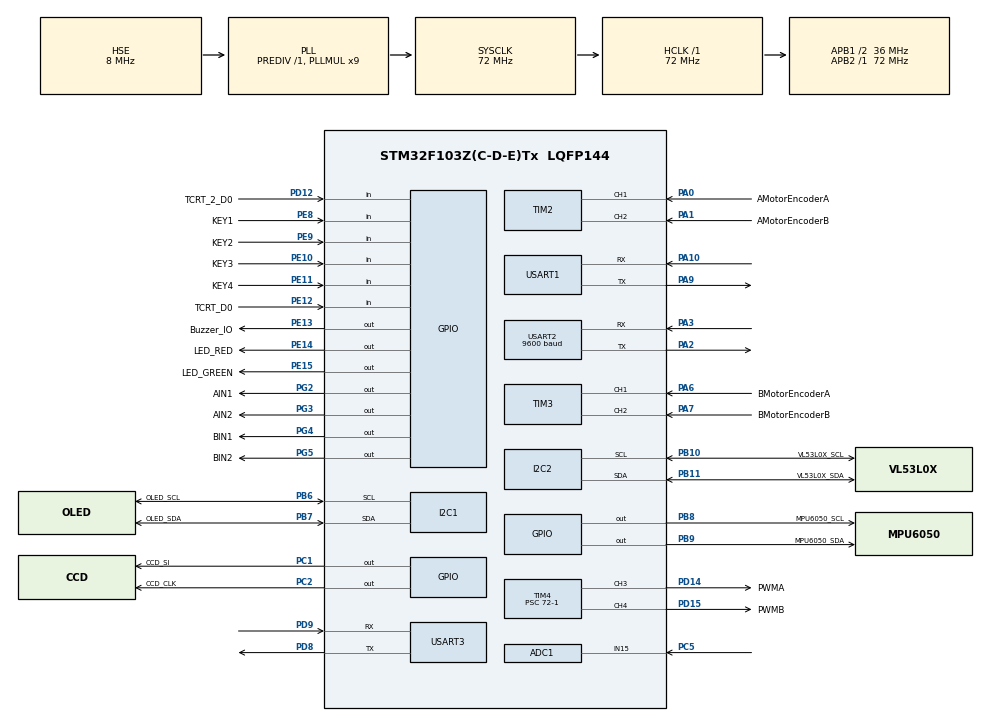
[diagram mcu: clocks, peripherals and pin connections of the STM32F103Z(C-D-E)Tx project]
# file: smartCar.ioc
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ADC1.Channel-5\#ChannelRegularConversion=ADC_CHANNEL_15
ADC1.Channel-6\#ChannelRegularConversion=ADC_CHANNEL_15
ADC1.ContinuousConvMode=ENABLE
ADC1.DiscontinuousConvMode=DISABLE
ADC1.NbrOfConversion=2
ADC1.NbrOfConversionFlag=1
ADC1.Rank-5\#ChannelRegularConversion=1
ADC1.Rank-6\#ChannelRegularConversion=2
ADC1.SamplingTime-5\#ChannelRegularConversion=ADC_SAMPLETIME_239CYCLES_5
ADC1.SamplingTime-6\#ChannelRegularConversion=ADC_SAMPLETIME_1CYCLE_5
ADC1.master=1
Dma.ADC1.0.Direction=DMA_PERIPH_TO_MEMORY
Dma.ADC1.0.Instance=DMA1_Channel1
Dma.ADC1.0.MemDataAlignment=DMA_MDATAALIGN_WORD
Dma.ADC1.0.MemInc=DMA_MINC_ENABLE
Dma.ADC1.0.Mode=DMA_CIRCULAR
Dma.ADC1.0.PeriphDataAlignment=DMA_PDATAALIGN_WORD
Dma.ADC1.0.PeriphInc=DMA_PINC_DISABLE
Dma.ADC1.0.Priority=DMA_PRIORITY_MEDIUM
Dma.Request0=ADC1
I2C2.I2C_Mode=I2C_Fast
Mcu.Family=STM32F1
Mcu.Name=STM32F103Z(C-D-E)Tx
Mcu.Package=LQFP144
NVIC.DMA1_Channel1_IRQn=true\:0\:0\:false\:false\:true\:false\:true\:true
NVIC.PriorityGroup=NVIC_PRIORITYGROUP_4
NVIC.TIM1_UP_IRQn=true\:1\:0\:true\:false\:true\:true\:true\:true
NVIC.USART2_IRQn=true\:2\:0\:true\:false\:true\:true\:true\:true
NVIC.USART3_IRQn=true\:3\:0\:true\:false\:true\:true\:true\:true
OSC_IN.Mode=HSE-External-Oscillator
OSC_IN.Signal=RCC_OSC_IN
OSC_OUT.Mode=HSE-External-Oscillator
OSC_OUT.Signal=RCC_OSC_OUT
PA0-WKUP.GPIO_Label=AMotorEncoderA
PA0-WKUP.Signal=S_TIM2_CH1_ETR
PA1.GPIO_Label=AMotorEncoderB
PA1.Signal=S_TIM2_CH2
PA10.Mode=Asynchronous
PA10.Signal=USART1_RX
PA13.Mode=Serial_Wire
PA13.Signal=SYS_JTMS-SWDIO
PA14.Mode=Serial_Wire
PA14.Signal=SYS_JTCK-SWCLK
PA2.Mode=Asynchronous
PA2.Signal=USART2_TX
PA3.Mode=Asynchronous
PA3.Signal=USART2_RX
PA6.GPIO_Label=BMotorEncoderA
PA6.GPIO_PuPd=GPIO_PULLUP
PA6.Signal=S_TIM3_CH1
PA7.GPIO_Label=BMotorEncoderB
PA7.GPIO_PuPd=GPIO_PULLUP
PA7.Signal=S_TIM3_CH2
PA9.Mode=Asynchronous
PA9.Signal=USART1_TX
PB10.GPIO_Label=VL53L0X_SCL
PB10.GPIO_Speed=GPIO_SPEED_FREQ_HIGH
PB10.Mode=I2C
PB10.Signal=I2C2_SCL
PB11.GPIO_Label=VL53L0X_SDA
PB11.GPIO_Speed=GPIO_SPEED_FREQ_HIGH
PB11.Mode=I2C
PB11.Signal=I2C2_SDA
PB6.GPIO_Label=OLED_SCL
PB6.Mode=I2C
PB6.Signal=I2C1_SCL
PB7.GPIO_Label=OLED_SDA
PB7.Mode=I2C
PB7.Signal=I2C1_SDA
PB8.GPIO_Label=MPU6050_SCL
PB8.GPIO_ModeDefaultOutputPP=GPIO_MODE_OUTPUT_OD
PB8.GPIO_PuPd=GPIO_PULLUP
PB8.GPIO_Speed=GPIO_SPEED_FREQ_HIGH
PB8.PinState=GPIO_PIN_RESET
PB8.Signal=GPIO_Output
PB9.GPIO_Label=MPU6050_SDA
PB9.GPIO_ModeDefaultOutputPP=GPIO_MODE_OUTPUT_OD
PB9.GPIO_PuPd=GPIO_PULLUP
PB9.GPIO_Speed=GPIO_SPEED_FREQ_HIGH
PB9.Signal=GPIO_Output
PC0.GPIO_Label=CCD_AO
PC0.Signal=ADCx_IN10
PC1.GPIO_Label=CCD_SI
PC1.GPIO_ModeDefaultOutputPP=GPIO_MODE_OUTPUT_PP
PC1.GPIO_PuPd=GPIO_PULLUP
PC1.GPIO_Speed=GPIO_SPEED_FREQ_MEDIUM
PC1.PinState=GPIO_PIN_SET
PC1.Signal=GPIO_Output
PC14-OSC32_IN.Mode=LSE-External-Oscillator
PC14-OSC32_IN.Signal=RCC_OSC32_IN
PC15-OSC32_OUT.Mode=LSE-External-Oscillator
PC15-OSC32_OUT.Signal=RCC_OSC32_OUT
PC2.GPIO_Label=CCD_CLK
PC2.GPIO_PuPd=GPIO_PULLUP
PC2.GPIO_Speed=GPIO_SPEED_FREQ_MEDIUM
PC2.PinState=GPIO_PIN_SET
PC2.Signal=GPIO_Output
PC5.Signal=ADCx_IN15
PD12.GPIO_Label=TCRT_2_D0
PD12.Signal=GPIO_Input
PD14.GPIO_Label=PWMA
PD14.Signal=S_TIM4_CH3
PD15.GPIO_Label=PWMB
PD15.Signal=S_TIM4_CH4
PD8.Mode=Asynchronous
PD8.Signal=USART3_TX
PD9.Mode=Asynchronous
PD9.Signal=USART3_RX
PE10.GPIO_Label=KEY3
PE10.GPIO_PuPd=GPIO_PULLUP
PE10.Signal=GPIO_Input
PE11.GPIO_Label=KEY4
PE11.GPIO_PuPd=GPIO_PULLUP
PE11.Signal=GPIO_Input
PE12.GPIO_Label=TCRT_D0
PE12.Signal=GPIO_Input
PE13.GPIO_Label=Buzzer_IO
PE13.Signal=GPIO_Output
PE14.GPIO_Label=LED_RED
PE14.Signal=GPIO_Output
PE15.GPIO_Label=LED_GREEN
PE15.Signal=GPIO_Output
PE8.GPIO_Label=KEY1
PE8.GPIO_PuPd=GPIO_PULLUP
PE8.Signal=GPIO_Input
PE9.GPIO_Label=KEY2
PE9.GPIO_PuPd=GPIO_PULLUP
PE9.Signal=GPIO_Input
PG2.GPIO_Label=AIN1
PG2.Signal=GPIO_Output
PG3.GPIO_Label=AIN2
PG3.Signal=GPIO_Output
PG4.GPIO_Label=BIN1
PG4.Signal=GPIO_Output
PG5.GPIO_Label=BIN2
PG5.Signal=GPIO_Output
ProjectManager.HeapSize=0x200
ProjectManager.StackSize=0x400
ProjectManager.TargetToolchain=MDK-ARM V5
RCC.ADCPresc=RCC_ADCPCLK2_DIV6
RCC.AHBFreq_Value=72000000
RCC.APB1CLKDivider=RCC_HCLK_DIV2
RCC.APB1Freq_Value=36000000
RCC.APB1TimFreq_Value=72000000
RCC.APB2Freq_Value=72000000
RCC.APB2TimFreq_Value=72000000
RCC.HCLKFreq_Value=72000000
RCC.PLLMUL=RCC_PLL_MUL9
RCC.PLLSourceVirtual=RCC_PLLSOURCE_HSE
RCC.SYSCLKFreq_VALUE=72000000
RCC.SYSCLKSource=RCC_SYSCLKSOURCE_PLLCLK
RCC.USBFreq_Value=72000000
SH.ADCx_IN10.0=ADC1_IN10
SH.ADCx_IN15.0=ADC1_IN15,IN15
SH.S_TIM2_CH1_ETR.0=TIM2_CH1,Encoder_Interface
SH.S_TIM2_CH2.0=TIM2_CH2,Encoder_Interface
SH.S_TIM3_CH1.0=TIM3_CH1,Encoder_Interface
SH.S_TIM3_CH2.0=TIM3_CH2,Encoder_Interface
SH.S_TIM4_CH3.0=TIM4_CH3,PWM Generation3 CH3
SH.S_TIM4_CH4.0=TIM4_CH4,PWM Generation4 CH4
TIM1.AutoReloadPreload=TIM_AUTORELOAD_PRELOAD_ENABLE
TIM1.Period=10000-1
TIM1.Prescaler=72-1
TIM2.AutoReloadPreload=TIM_AUTORELOAD_PRELOAD_ENABLE
TIM2.EncoderMode=TIM_ENCODERMODE_TI12
TIM3.AutoReloadPreload=TIM_AUTORELOAD_PRELOAD_ENABLE
TIM3.EncoderMode=TIM_ENCODERMODE_TI12
TIM3.IC1Filter=6
TIM3.IC2Filter=6
TIM4.AutoReloadPreload=TIM_AUTORELOAD_PRELOAD_DISABLE
TIM4.Channel-PWM\ Generation3\ CH3=TIM_CHANNEL_3
TIM4.Channel-PWM\ Generation4\ CH4=TIM_CHANNEL_4
TIM4.Period=100-1
TIM4.Prescaler=72-1
USART1.VirtualMode=VM_ASYNC
USART2.BaudRate=9600
USART2.VirtualMode=VM_ASYNC
USART3.VirtualMode=VM_ASYNC
VP_ADC1_TempSens_Input.Mode=IN-TempSens
VP_TIM1_VS_ClockSourceINT.Mode=Internal
VP_TIM4_VS_ClockSourceINT.Mode=Internal
board=custom

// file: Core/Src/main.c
/* USER CODE BEGIN Header */
/**
 ******************************************************************************
 * @file           : main.c
 * @brief          : Main program body
 ******************************************************************************
 * @attention
 *
 * Copyright (c) 2023 STMicroelectronics.
 * All rights reserved.
 *
 * This software is licensed under terms that can be found in the LICENSE file
 * in the root directory of this software component.
 * If no LICENSE file comes with this software, it is provided AS-IS.
 *
 ******************************************************************************
 */
/* USER CODE END Header */
#include "main.h"
#include "adc.h"
#include "dma.h"
#include "i2c.h"
#include "tim.h"
#include "usart.h"
#include "gpio.h"

/* USER CODE BEGIN PV */
PID                 leftMotor_PID;
PID                 rightMotor_PID;
PID                 trailMotor_PID;

uint8_t             TempStr[30];                                                  // OLED显示缓存

int                 tim1Count           = 0;                                      // 中断计时

float               batteryVoltage      = 0.0;                                    // 电池电压

short               encoderPulse[2]     = {0};                                    // 编码器脉冲数
float               leftSpeed           = 0;                                      // 左轮速度
float               rightSpeed          = 0;                                      // 右轮速度

float               leftTargetSpeed     = 0;                                      // 左轮目标速度
float               rightTargetSpeed    = 0;                                      // 右轮目标速度

uint8_t             Uart2RxBuff[2];                                               // 进入中断接收数据的数组
uint8_t             Uart2DataBuff[100];                                           // 保存接收到的数据的数组
uint8_t             RxLine              = 0;                                      // 接收到的数据长度
uint8_t             Uart2RxFlag         = 0;                                      // 串口2接收标志位

uint8_t             MovementPara        = 0;                                      // 运动参数

uint8_t             Uart3RxBuff;                                                  // 进入中断接收数据的数组
int                 Uart3RxFlag         = 0;                                      // 串口3接收标志位

uint16_t            distance            = 0;                                      // unit: mm
statInfo_t_VL53L0X  distanceStr;

volatile uint32_t   adcBuffer[ADC_CHANNEL_COUNT * ADC_AVERAGE_COUNT];             // 保存ADC转换后的数值
float               ADC_Value[ADC_CHANNEL_COUNT];                                 // 保存计算后的数值
float               temperature = 0.0;                                            // 内部温度传感器
/* USER CODE END PV */

void SystemClock_Config(void);

int main(void)
{

  /* MCU Configuration--------------------------------------------------------*/

  /* Reset of all peripherals, Initializes the Flash interface and the Systick. */
  HAL_Init();

  /* Configure the system clock */
  SystemClock_Config();

  /* Initialize all configured peripherals */
  MX_GPIO_Init();
  MX_DMA_Init();
  MX_TIM1_Init();
  MX_TIM3_Init();
  MX_TIM4_Init();
  MX_USART1_UART_Init();
  MX_USART2_UART_Init();
  MX_ADC1_Init();
  MX_I2C1_Init();
  MX_TIM2_Init();
  MX_USART3_UART_Init();
  MX_I2C2_Init();
  /* USER CODE BEGIN 2 */
  SSD1306_Init(&hi2c1); // 初始化OLED
  oled.ssd1306.Clear();

  HAL_NVIC_SetPriority(SysTick_IRQn, 0, 0); // 设置SysTick中断优先级，防止卡死

  // Initialise the VL53L0X
  //initVL53L0X(1, &hi2c2);

  // Configure the sensor for high accuracy and speed in 20 cm.
  //setSignalRateLimit(200);
  //setVcselPulsePeriod(VcselPeriodPreRange, 10);
  //setVcselPulsePeriod(VcselPeriodFinalRange, 14);
  //setMeasurementTimingBudget(300 * 1000UL);

  MPU6050_Init();     // MPU6050初始化
  mpu_dmp_init(); // dmp初始化

  HAL_TIM_Base_Start_IT(&htim1);                 // 启动定时器1中断
  HAL_TIM_PWM_Start(&htim4, TIM_CHANNEL_3);
  HAL_TIM_PWM_Start(&htim4, TIM_CHANNEL_4);
  HAL_TIM_Encoder_Start(&htim2, TIM_CHANNEL_1);
  HAL_TIM_Encoder_Start(&htim2, TIM_CHANNEL_2);
  HAL_TIM_Encoder_Start(&htim3, TIM_CHANNEL_1);
  HAL_TIM_Encoder_Start(&htim3, TIM_CHANNEL_2); // start encoder timer

  __HAL_TIM_ENABLE_IT(&htim2, TIM_IT_UPDATE);
  __HAL_TIM_ENABLE_IT(&htim3, TIM_IT_UPDATE); // start encoder timer to update interrupts and prevent overflow processing

  __HAL_TIM_SET_COUNTER(&htim2, 0);
  __HAL_TIM_SET_COUNTER(&htim3, 0); // initialize encoder timing and set it to 3000

  // HAL_ADCEx_Calibration_Start(&CCD_AO_hadc);

  Speed_PID_Init(&leftMotor_PID);
  Speed_PID_Init(&rightMotor_PID);
  Trail_PID_Init(&trailMotor_PID);

  //HAL_UART_Receive_IT(&huart2, &Uart2RxBuff, 1); // 串口2接收中断
  HAL_UART_Receive_IT(&huart2, Uart2RxBuff, 2); // 串口2接收中断
  memset(Uart2DataBuff, 0, 100*sizeof(uint8_t));

  //HAL_ADC_Start_DMA(&hadc1, (uint32_t *)adcBuffer, ADC_CHANNEL_COUNT * ADC_AVERAGE_COUNT);

  /* USER CODE END 2 */

  /* Infinite loop */
  /* USER CODE BEGIN WHILE */
  while (1)
  {
    OLEDShow(); // OLED显示
    MovementPara_Decode(); // 运动参数解码
    /* USER CODE END WHILE */

  }
}

void SystemClock_Config(void)
{
  RCC_OscInitTypeDef RCC_OscInitStruct = {0};
  RCC_ClkInitTypeDef RCC_ClkInitStruct = {0};
  RCC_PeriphCLKInitTypeDef PeriphClkInit = {0};

  /** Initializes the RCC Oscillators according to the specified parameters
  * in the RCC_OscInitTypeDef structure.
  */
  RCC_OscInitStruct.OscillatorType = RCC_OSCILLATORTYPE_HSE;
  RCC_OscInitStruct.HSEState = RCC_HSE_ON;
  RCC_OscInitStruct.HSEPredivValue = RCC_HSE_PREDIV_DIV1;
  RCC_OscInitStruct.HSIState = RCC_HSI_ON;
  RCC_OscInitStruct.PLL.PLLState = RCC_PLL_ON;
  RCC_OscInitStruct.PLL.PLLSource = RCC_PLLSOURCE_HSE;
  RCC_OscInitStruct.PLL.PLLMUL = RCC_PLL_MUL9;
  if (HAL_RCC_OscConfig(&RCC_OscInitStruct) != HAL_OK)
  {
    Error_Handler();
  }

  /** Initializes the CPU, AHB and APB buses clocks
  */
  RCC_ClkInitStruct.ClockType = RCC_CLOCKTYPE_HCLK|RCC_CLOCKTYPE_SYSCLK
                              |RCC_CLOCKTYPE_PCLK1|RCC_CLOCKTYPE_PCLK2;
  RCC_ClkInitStruct.SYSCLKSource = RCC_SYSCLKSOURCE_PLLCLK;
  RCC_ClkInitStruct.AHBCLKDivider = RCC_SYSCLK_DIV1;
  RCC_ClkInitStruct.APB1CLKDivider = RCC_HCLK_DIV2;
  RCC_ClkInitStruct.APB2CLKDivider = RCC_HCLK_DIV1;

  if (HAL_RCC_ClockConfig(&RCC_ClkInitStruct, FLASH_LATENCY_2) != HAL_OK)
  {
    Error_Handler();
  }
  PeriphClkInit.PeriphClockSelection = RCC_PERIPHCLK_ADC;
  PeriphClkInit.AdcClockSelection = RCC_ADCPCLK2_DIV6;
  if (HAL_RCCEx_PeriphCLKConfig(&PeriphClkInit) != HAL_OK)
  {
    Error_Handler();
  }
}

/* USER CODE BEGIN 4 */
void HAL_TIM_PeriodElapsedCallback(TIM_HandleTypeDef *htim)
{
  tim1Count++;
  if (htim == &htim1) // htim1 100Hz 10ms
  {
    GetSpeed(); // 读取编码器速度，存储在leftSpeed和rightSpeed中

    Speed_PID(leftTargetSpeed, leftSpeed, &leftMotor_PID); // 根据目标速度和实际速度计算PID参数
    Speed_PID(rightTargetSpeed, rightSpeed, &rightMotor_PID);

    //MotorControl(25, 25);

    MotorControl(leftMotor_PID.PWM, rightMotor_PID.PWM); // 电机控制

    MPU6050_GetData();  //读取MPU6050数据

    if (tim1Count > 100)
    {
      batteryVoltage = adcGetBatteryVoltage();  //获取电压值
      tim1Count = 0;
    }
  }
}

void MovementPara_Decode()
{
  if(Uart2RxBuff[0] != 0 && Uart2RxBuff[1] != 0)
  {
    if(MovementPara == '0')  //停下
    {
      leftTargetSpeed = 0;
      rightTargetSpeed = 0;
      printf("stop");
    }
    else if(MovementPara == '1') //前进
    {
      leftTargetSpeed = LeftForwardSpeed;
      rightTargetSpeed = RightForwardSpeed;
      printf("forward");
    }
    else if(MovementPara == '2') //左转
    {
      leftTargetSpeed = LeftBackSpeed;
      rightTargetSpeed = RightForwardSpeed;
      printf("left");
    }
    else if(MovementPara == '3') //后退
    {
      leftTargetSpeed = LeftBackSpeed;
      rightTargetSpeed = RightBackSpeed;
      printf("back");
    }
    else if(MovementPara == '4') //右转
    {
      leftTargetSpeed = LeftForwardSpeed;
      rightTargetSpeed = RightBackSpeed;
      printf("right");
    }

    printf("%s\r\n", Uart2RxBuff);
    memset(Uart2RxBuff, 0, 2*sizeof(uint8_t)); // 清空接收缓存
    HAL_UART_Receive_IT(&huart2, Uart2RxBuff, 2); // 串口2接收中断
  }
  else
  {
    memset(Uart2RxBuff, 0, 2*sizeof(uint8_t)); // 清空接收缓存
    HAL_UART_Receive_IT(&huart2, Uart2RxBuff, 2); // 串口2接收中断
  }
}

void OLEDShow()
{

  sprintf((char *)TempStr, "voltage:%.1fV", batteryVoltage);
  oled.ssd1306.ShowString(0, 0, TempStr, 12);

  sprintf((char *)TempStr, "A%.2f B%.2f", leftSpeed, rightSpeed);
  oled.ssd1306.TempStrCheck(TempStr, 13);
  oled.ssd1306.ShowString(0, 1, TempStr, 12);

  memset(TempStr, 0, sizeof(TempStr));

  /*
  sprintf((char *)TempStr, "              ");
  oled.ssd1306.ShowString(0, 2, TempStr, 12);

  sprintf((char *)TempStr, "P:%.2f gx:%d", (mpu.mpu6050.pitch), (mpu.mpu6050.gyrox));
  oled.ssd1306.ShowString(0, 2, TempStr, 12);

  sprintf((char *)TempStr, "              ");
  oled.ssd1306.ShowString(0, 3, TempStr, 12);

  sprintf((char *)TempStr, "R:%.2f gy:%d", (mpu.mpu6050.roll), (mpu.mpu6050.gyroy));
  oled.ssd1306.ShowString(0, 3, TempStr, 12);

  sprintf((char *)TempStr, "              ");
  oled.ssd1306.ShowString(0, 4, TempStr, 12);

  sprintf((char *)TempStr, "Y:%.2f gz:%d", (mpu.mpu6050.yaw), (mpu.mpu6050.gyroz));
  oled.ssd1306.ShowString(0, 4, TempStr, 12);
  */

  sprintf((char *)TempStr, "P%.2f", (mpu.mpu6050.pitch));
  oled.ssd1306.TempStrCheck(TempStr, 8);
  oled.ssd1306.ShowString(0, 2, TempStr, 12);
  memset(TempStr, 0, sizeof(TempStr));

  sprintf((char *)TempStr, "R%.2f", (mpu.mpu6050.roll));
  oled.ssd1306.TempStrCheck(TempStr, 8);
  oled.ssd1306.ShowString(0, 3, TempStr, 12);
  memset(TempStr, 0, sizeof(TempStr));

  sprintf((char *)TempStr, "Y%.2f ", (mpu.mpu6050.yaw));
  oled.ssd1306.TempStrCheck(TempStr, 8);
  oled.ssd1306.ShowString(0, 4, TempStr, 12);
  memset(TempStr, 0, sizeof(TempStr));

  sprintf((char *)TempStr, "gx%d", (mpu.mpu6050.gyrox));
  oled.ssd1306.TempStrCheck(TempStr, 7);
  oled.ssd1306.ShowString(9*SSD1306_EnXLen, 2, TempStr, 12);
  memset(TempStr, 0, sizeof(TempStr));

  sprintf((char *)TempStr, "gy%d", (mpu.mpu6050.gyroy));
  oled.ssd1306.TempStrCheck(TempStr, 7);
  oled.ssd1306.ShowString(9*SSD1306_EnXLen, 3, TempStr, 12);
  memset(TempStr, 0, sizeof(TempStr));

  sprintf((char *)TempStr, "gz%d", (mpu.mpu6050.gyroz));
  oled.ssd1306.TempStrCheck(TempStr, 7);
  oled.ssd1306.ShowString(9*SSD1306_EnXLen, 4, TempStr, 12);
  memset(TempStr, 0, sizeof(TempStr));

  //sprintf((char *)TempStr, "%ds", (int)(uwTick*0.001));
  //oled.ssd1306.ShowString(12*SSD1306_EnXLen, 1, TempStr, 12);
  //memset(TempStr, 0, sizeof(TempStr));

  sprintf((char *)TempStr, "Move%c", MovementPara);
  oled.ssd1306.ShowString(0, 5, TempStr, 12);
  memset(TempStr, 0, sizeof(TempStr));

  sprintf((char *)TempStr, "%s", Uart2RxBuff);
  oled.ssd1306.ShowString(0, 6, TempStr, 12);
}

void MPU6050_GetData() // 获取MPU6050的数值
{
  while (mpu_dmp_get_data(&(mpu.mpu6050.pitch), &(mpu.mpu6050.roll), &(mpu.mpu6050.yaw)));        // 必须要用while等待，才能读取成功
  mpu.mpu6050.Get_Gyroscope(&(mpu.mpu6050.gyrox), &(mpu.mpu6050.gyroy), &(mpu.mpu6050.gyroz));    // 得到陀螺仪数据
  //printf("data:%.1f,%.1f,%.1f\r\n", roll, &(mpu.mpu6050.pitch), yaw);  // 串口1输出采集信息
}

/* USER CODE END 4 */

void Error_Handler(void)
{
  __disable_irq();
  while (1)
  {
  }
}
